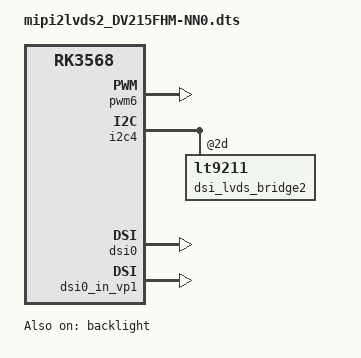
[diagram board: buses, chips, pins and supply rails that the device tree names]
/dts-v1/;
/plugin/;
/ {
	compatible = "rockchip,rk3568";

	fragment@0 {
		target = <&pwm6>;
		__overlay__ {
			status = "okay";
		};
	};
	fragment@1 {
		target = <&backlight>;
		__overlay__ {
			status = "okay";
			panel-type = "LVDS";
            pwms = <&pwm6 0 5000000 0>;
            power-sequence-reverse;
            enable_delay = <10>;
            disable_delay = <10>;
            minimal-brightness-level = <30>;
		};
	};
	fragment@2 {
		target = <&i2c4>;
		__overlay__ {
			status = "okay";
			dsi_lvds_bridge2: lt9211@2d {
				status = "okay";
				dsi,lanes = <4>;
				lvds-format = <2>;//VESA
				lvds-bpp = <24>;
				dual-link;
				de-mode;
				enable-overlay;
				//test-pattern;
			};
		};
	};
	fragment@3 {
		target = <&dsi0>;
		__overlay__ {
			status = "okay";
			dsi0_panel: panel@0 {
				backlight = <&backlight>;

				width-mm = <495>;
				height-mm = <292>;
				bpc=<8>;
				bus-format = <0x100a>;//<MEDIA_BUS_FMT_RGB888_1X24>;
				dsi,flags = <0x3>;
				dsi,format = <0>;//MIPI_DSI_FMT_RGB888:
				dsi,lanes = <4>;

				t1=<25>;//VCC on to start lvds signal
				t2=<250>;//LVDS signal(start) to turn Backlihgt on
				t3=<250>;//Backlihgt(off) to stop lvds signal
				t4=<25>;//LVDS signal to turn VCC off
				t5=<1000>;//VCC off to turn VCC on
				t6=<0>;//Backlight sys Enable to turn Backlight on
                t7=<0>;//Backlight off to Backlight sys Disable
                //t1 -> t2-t6 -> t6 -> t3 -> t7 -> t4 -> t5

				display-timings {
					native-mode = <&dsi0_timing0>;

					dsi0_timing0: timing0  {
						clock-frequency = <148500000>;
						hactive = <1920>;
						vactive = <1080>;
						hfront-porch = <112>;
						hback-porch = <112>;
						hsync-len = <56>;
						vfront-porch = <18>;
						vsync-len = <9>;
						vback-porch = <18>;
						hsync-active = <0>;
						vsync-active = <0>;
						de-active = <1>;
						pixelclk-active = <0>;
					};
				};
			};
		};
	};
	fragment@4 {
		target = <&edp>;
		__overlay__ {
			status = "disabled";
		};
	};
	fragment@5 {
		target = <&edp_phy>;
		__overlay__ {
			status = "disabled";
		};
	};
	fragment@6 {
		target = <&panel_edp>;
		__overlay__ {
			status = "disabled";
		};
	};
	fragment@7 {
		target = <&dsi0>;
		__overlay__ {
			status = "okay";
		};
	};
	fragment@8 {
		target = <&dsi0_in_vp1>;
		__overlay__ {
			status = "okay";
		};
	};
	fragment@9 {
		target = <&edp_in_vp1>;
		__overlay__ {
			status = "disabled";
		};
	};
};
